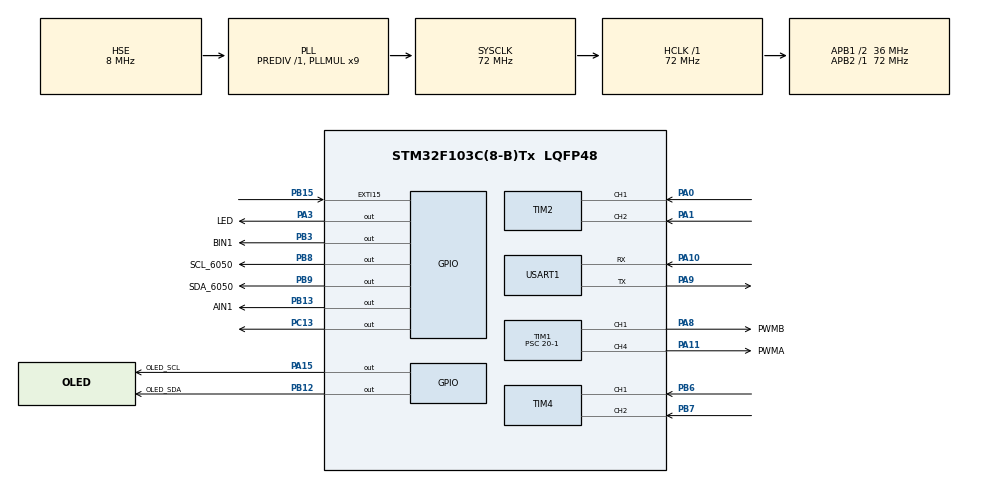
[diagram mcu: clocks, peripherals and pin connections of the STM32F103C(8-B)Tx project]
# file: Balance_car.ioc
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Mcu.Family=STM32F1
Mcu.Name=STM32F103C(8-B)Tx
Mcu.Package=LQFP48
NVIC.EXTI15_10_IRQn=true\:0\:0\:false\:false\:true\:true\:true\:true
NVIC.PriorityGroup=NVIC_PRIORITYGROUP_4
NVIC.TIM1_UP_IRQn=true\:0\:0\:true\:false\:true\:true\:true\:true
NVIC.TIM2_IRQn=true\:0\:0\:false\:false\:true\:true\:true\:true
NVIC.TIM4_IRQn=true\:0\:0\:false\:false\:true\:true\:true\:true
PA0-WKUP.GPIO_PuPd=GPIO_PULLUP
PA0-WKUP.Signal=S_TIM2_CH1_ETR
PA1.GPIO_PuPd=GPIO_PULLUP
PA1.Signal=S_TIM2_CH2
PA10.Mode=Asynchronous
PA10.Signal=USART1_RX
PA11.GPIO_Label=PWMA
PA11.Signal=S_TIM1_CH4
PA13.Mode=Serial_Wire
PA13.Signal=SYS_JTMS-SWDIO
PA14.Mode=Serial_Wire
PA14.Signal=SYS_JTCK-SWCLK
PA15.GPIO_Label=OLED_SCL
PA15.GPIO_PuPd=GPIO_PULLUP
PA15.PinState=GPIO_PIN_SET
PA15.Signal=GPIO_Output
PA3.GPIO_Label=LED
PA3.Signal=GPIO_Output
PA8.GPIO_Label=PWMB
PA8.Signal=S_TIM1_CH1
PA9.Mode=Asynchronous
PA9.Signal=USART1_TX
PB12.GPIO_Label=OLED_SDA
PB12.GPIO_PuPd=GPIO_PULLUP
PB12.PinState=GPIO_PIN_SET
PB12.Signal=GPIO_Output
PB13.GPIO_Label=AIN1
PB13.Signal=GPIO_Output
PB15.GPIO_ModeDefaultEXTI=GPIO_MODE_IT_FALLING
PB15.GPIO_PuPd=GPIO_PULLUP
PB15.Signal=GPXTI15
PB3.GPIO_Label=BIN1
PB3.Signal=GPIO_Output
PB6.GPIO_PuPd=GPIO_PULLUP
PB6.Signal=S_TIM4_CH1
PB7.GPIO_PuPd=GPIO_PULLUP
PB7.Signal=S_TIM4_CH2
PB8.GPIO_Label=SCL_6050
PB8.PinState=GPIO_PIN_SET
PB8.Signal=GPIO_Output
PB9.GPIO_Label=SDA_6050
PB9.PinState=GPIO_PIN_SET
PB9.Signal=GPIO_Output
PC13-TAMPER-RTC.Signal=GPIO_Output
PD0-OSC_IN.Mode=HSE-External-Oscillator
PD0-OSC_IN.Signal=RCC_OSC_IN
PD1-OSC_OUT.Mode=HSE-External-Oscillator
PD1-OSC_OUT.Signal=RCC_OSC_OUT
ProjectManager.HeapSize=0x200
ProjectManager.StackSize=0x400
ProjectManager.TargetToolchain=MDK-ARM V5.32
RCC.AHBFreq_Value=72000000
RCC.APB1CLKDivider=RCC_HCLK_DIV2
RCC.APB1Freq_Value=36000000
RCC.APB1TimFreq_Value=72000000
RCC.APB2Freq_Value=72000000
RCC.APB2TimFreq_Value=72000000
RCC.HCLKFreq_Value=72000000
RCC.PLLMUL=RCC_PLL_MUL9
RCC.PLLSourceVirtual=RCC_PLLSOURCE_HSE
RCC.SYSCLKFreq_VALUE=72000000
RCC.SYSCLKSource=RCC_SYSCLKSOURCE_PLLCLK
RCC.USBFreq_Value=72000000
SH.S_TIM1_CH1.0=TIM1_CH1,PWM Generation1 CH1
SH.S_TIM1_CH4.0=TIM1_CH4,PWM Generation4 CH4
SH.S_TIM2_CH1_ETR.0=TIM2_CH1,Encoder_Interface
SH.S_TIM2_CH2.0=TIM2_CH2,Encoder_Interface
SH.S_TIM4_CH1.0=TIM4_CH1,Encoder_Interface
SH.S_TIM4_CH2.0=TIM4_CH2,Encoder_Interface
TIM1.AutoReloadPreload=TIM_AUTORELOAD_PRELOAD_ENABLE
TIM1.Channel-PWM\ Generation1\ CH1=TIM_CHANNEL_1
TIM1.Channel-PWM\ Generation4\ CH4=TIM_CHANNEL_4
TIM1.Period=7200-1
TIM1.Prescaler=20-1
TIM1.Pulse-PWM\ Generation1\ CH1=0
TIM1.Pulse-PWM\ Generation4\ CH4=0
TIM2.EncoderMode=TIM_ENCODERMODE_TI12
TIM2.IC1Filter=6
TIM2.IC2Filter=6
TIM4.EncoderMode=TIM_ENCODERMODE_TI12
TIM4.IC1Filter=6
TIM4.IC2Filter=6
USART1.VirtualMode=VM_ASYNC
VP_TIM1_VS_ClockSourceINT.Mode=Internal
board=custom

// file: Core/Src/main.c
/* USER CODE BEGIN Header */
/**
 ******************************************************************************
 * @file           : main.c
 * @brief          : Main program body
 ******************************************************************************
 * @attention
 *
 * Copyright (c) 2024 STMicroelectronics.
 * All rights reserved.
 *
 * This software is licensed under terms that can be found in the LICENSE file
 * in the root directory of this software component.
 * If no LICENSE file comes with this software, it is provided AS-IS.
 *
 ******************************************************************************
 */
/* USER CODE END Header */
#include "main.h"
#include "tim.h"
#include "usart.h"
#include "gpio.h"

/* USER CODE BEGIN Includes */
#include "motor.h"
#include "mpu6050.h"
#include "inv_mpu.h"
#include "inv_mpu_dmp_motion_driver.h"
#include "oled.h"
#include "pid.h"
#include "control.h"
// #include "control.h"
/* USER CODE END Includes */

/* USER CODE BEGIN PM */

extern float Motor1Speed;
extern float Motor2Speed;
extern float Vertical_Kp ; //-1200ÎÞd
extern float Vertical_Kd ;
/* USER CODE END PM */

/* USER CODE BEGIN PV */

float pitch, roll, yaw;
short gyrox, gyroy, gyroz;
float temp;

/* USER CODE END PV */

void SystemClock_Config(void);

/* USER CODE BEGIN 0 */
pid_t wheel;
extern short gyro[3];
extern pid_t wheel;
extern float Motor1Speed;
float tar;

/* USER CODE END 0 */

int main(void)
{

  /* MCU Configuration--------------------------------------------------------*/

  /* Reset of all peripherals, Initializes the Flash interface and the Systick. */
  HAL_Init();

  /* Configure the system clock */
  SystemClock_Config();

  /* Initialize all configured peripherals */
  MX_GPIO_Init();
  MX_TIM1_Init();
  MX_TIM2_Init();
  MX_TIM4_Init();
  MX_USART1_UART_Init();
  /* USER CODE BEGIN 2 */
  HAL_TIM_PWM_Start(&htim1, TIM_CHANNEL_1);
  HAL_TIM_PWM_Start(&htim1, TIM_CHANNEL_4);
  HAL_TIM_Encoder_Start(&htim2, TIM_CHANNEL_ALL);
  HAL_TIM_Encoder_Start(&htim4, TIM_CHANNEL_ALL);
  HAL_TIM_Base_Start_IT(&htim2);
  HAL_TIM_Base_Start_IT(&htim4);
  HAL_TIM_Base_Start_IT(&htim1);

  MPU_Init();
  mpu_dmp_init();

  mpu_set_int_level(1);
  mpu_set_int_latched(1);

  OLED_Init();
  OLED_Clear();

  Motor_Set(0,0);

  wheel.p=900;
  wheel.i=10;
  wheel.d=0;
  wheel.tar=0;
  /* USER CODE END 2 */

  /* Infinite loop */
  while (1)
  {

    /* USER CODE BEGIN 3 */

    OLED_ShowString(0, 0, "roll:", 16);
    OLED_ShowDecimal(40,0 , roll, 16);
//    HAL_Delay(5);
    OLED_ShowString(0, 2, "speed:", 16);
    OLED_ShowDecimal(45, 2, Motor1Speed, 16);

  }
  /* USER CODE END 3 */
}

void SystemClock_Config(void)
{
  RCC_OscInitTypeDef RCC_OscInitStruct = {0};
  RCC_ClkInitTypeDef RCC_ClkInitStruct = {0};

  /** Initializes the RCC Oscillators according to the specified parameters
   * in the RCC_OscInitTypeDef structure.
   */
  RCC_OscInitStruct.OscillatorType = RCC_OSCILLATORTYPE_HSE;
  RCC_OscInitStruct.HSEState = RCC_HSE_ON;
  RCC_OscInitStruct.HSEPredivValue = RCC_HSE_PREDIV_DIV1;
  RCC_OscInitStruct.HSIState = RCC_HSI_ON;
  RCC_OscInitStruct.PLL.PLLState = RCC_PLL_ON;
  RCC_OscInitStruct.PLL.PLLSource = RCC_PLLSOURCE_HSE;
  RCC_OscInitStruct.PLL.PLLMUL = RCC_PLL_MUL9;
  if (HAL_RCC_OscConfig(&RCC_OscInitStruct) != HAL_OK)
  {
    Error_Handler();
  }

  /** Initializes the CPU, AHB and APB buses clocks
   */
  RCC_ClkInitStruct.ClockType = RCC_CLOCKTYPE_HCLK | RCC_CLOCKTYPE_SYSCLK | RCC_CLOCKTYPE_PCLK1 | RCC_CLOCKTYPE_PCLK2;
  RCC_ClkInitStruct.SYSCLKSource = RCC_SYSCLKSOURCE_PLLCLK;
  RCC_ClkInitStruct.AHBCLKDivider = RCC_SYSCLK_DIV1;
  RCC_ClkInitStruct.APB1CLKDivider = RCC_HCLK_DIV2;
  RCC_ClkInitStruct.APB2CLKDivider = RCC_HCLK_DIV1;

  if (HAL_RCC_ClockConfig(&RCC_ClkInitStruct, FLASH_LATENCY_2) != HAL_OK)
  {
    Error_Handler();
  }
}

void Error_Handler(void)
{
  __disable_irq();
  while (1)
  {
  }
}
